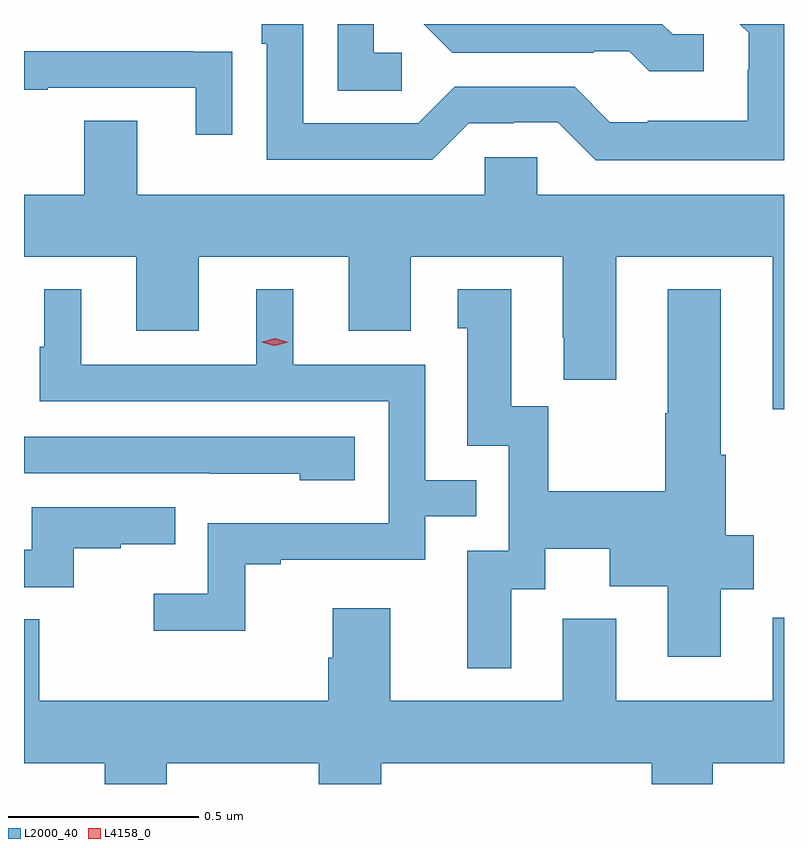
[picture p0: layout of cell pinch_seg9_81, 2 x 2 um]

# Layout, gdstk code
import gdstk
lib = gdstk.Library(unit=1e-6, precision=1e-09)
def P(c, l, *ps):  # polygons
    for p in ps: c.add(gdstk.Polygon(p, *l))
L2000_40 = (2000, 40)
L4158_0 = (4158, 0)

pinch_seg9_81 = lib.new_cell('pinch_seg9_81')
P(pinch_seg9_81, L2000_40, [(1117.739,1205.025),(1117.623,1205.025),(1117.646,1205.002),(1117.646,1204.905),(1117.644,1204.905),(1117.644,1204.771),(1117.381,1204.771),(1117.381,1204.767),(1117.281,1204.767),(1117.188,1204.86),(1116.873,1204.86),(1116.777,1204.764),(1116.474,1204.764),(1116.474,1205.025),(1116.365,1205.025),(1116.365,1204.973),(1116.378,1204.973),(1116.378,1204.668),(1116.813,1204.668),(1116.909,1204.764),(1117.028,1204.764),(1117.028,1204.767),(1117.143,1204.767),(1117.243,1204.667),(1117.739,1204.667)],
  [(1116.733,1204.95),(1116.66,1204.95),(1116.66,1205.025),(1116.564,1205.025),(1116.564,1204.849),(1116.733,1204.849)],
  [(1117.528,1204.998),(1117.446,1204.998),(1117.419,1205.025),(1116.791,1205.025),(1116.866,1204.95),(1117.238,1204.95),(1117.238,1204.953),(1117.332,1204.953),(1117.384,1204.901),(1117.528,1204.901)],
  [(1116.287,1204.952),(1116.185,1204.952),(1116.185,1204.953),(1115.739,1204.953),(1115.739,1204.852),(1115.801,1204.852),(1115.801,1204.857),(1116.191,1204.857),(1116.191,1204.734),(1116.287,1204.734)],
  [(1117.739,1204.576),(1117.089,1204.576),(1117.089,1204.674),(1116.951,1204.674),(1116.951,1204.576),(1116.037,1204.576),(1116.037,1204.771),(1115.897,1204.771),(1115.897,1204.576),(1115.739,1204.576),(1115.739,1204.412),(1116.035,1204.412),(1116.035,1204.218),(1116.199,1204.218),(1116.199,1204.412),(1116.593,1204.412),(1116.593,1204.218),(1116.757,1204.218),(1116.757,1204.412),(1117.157,1204.412),(1117.157,1204.201),(1117.16,1204.201),(1117.16,1204.089),(1117.297,1204.089),(1117.297,1204.412),(1117.709,1204.412),(1117.709,1204.011),(1117.739,1204.011)],
  [(1117.021,1203.538),(1117.111,1203.538),(1117.111,1203.644),(1117.28,1203.644),(1117.28,1203.545),(1117.433,1203.545),(1117.433,1203.36),(1117.573,1203.36),(1117.573,1203.538),(1117.66,1203.538),(1117.66,1203.68),(1117.586,1203.68),(1117.586,1203.892),(1117.573,1203.892),(1117.573,1204.327),(1117.433,1204.327),(1117.433,1204.001),(1117.426,1204.001),(1117.426,1203.796),(1117.119,1203.796),(1117.119,1204.019),(1117.021,1204.019),(1117.021,1204.327),(1116.881,1204.327),(1116.881,1204.224),(1116.905,1204.224),(1116.905,1203.915),(1117.014,1203.915),(1117.014,1203.639),(1116.905,1203.639),(1116.905,1203.33),(1117.021,1203.33)],
  [(1116.321,1203.603),(1116.415,1203.603),(1116.415,1203.615),(1116.795,1203.615),(1116.795,1203.729),(1116.929,1203.729),(1116.929,1203.825),(1116.795,1203.825),(1116.795,1204.128),(1116.448,1204.128),(1116.448,1204.327),(1116.35,1204.327),(1116.35,1204.128),(1115.89,1204.128),(1115.89,1204.327),(1115.792,1204.327),(1115.792,1204.176),(1115.781,1204.176),(1115.781,1204.032),(1116.699,1204.032),(1116.699,1203.711),(1116.222,1203.711),(1116.222,1203.526),(1116.081,1203.526),(1116.081,1203.428),(1116.321,1203.428)],
  [(1116.61,1203.939),(1115.739,1203.939),(1115.739,1203.843),(1116.229,1203.843),(1116.229,1203.842),(1116.465,1203.842),(1116.465,1203.824),(1116.61,1203.824)],
  [(1115.87,1203.645),(1115.993,1203.645),(1115.993,1203.656),(1116.137,1203.656),(1116.137,1203.753),(1115.76,1203.753),(1115.76,1203.641),(1115.739,1203.641),(1115.739,1203.543),(1115.87,1203.543)],
  [(1116.115,1203.08),(1116.515,1203.08),(1116.515,1203.025),(1116.679,1203.025),(1116.679,1203.08),(1117.391,1203.08),(1117.391,1203.025),(1117.551,1203.025),(1117.551,1203.08),(1117.739,1203.08),(1117.739,1203.463),(1117.709,1203.463),(1117.709,1203.244),(1117.297,1203.244),(1117.297,1203.46),(1117.157,1203.46),(1117.157,1203.244),(1116.703,1203.244),(1116.703,1203.487),(1116.551,1203.487),(1116.551,1203.357),(1116.539,1203.357),(1116.539,1203.244),(1115.779,1203.244),(1115.779,1203.458),(1115.739,1203.458),(1115.739,1203.08),(1115.951,1203.08),(1115.951,1203.025),(1116.115,1203.025)])
P(pinch_seg9_81, L4158_0, [(1116.399,1204.178),(1116.363,1204.188),(1116.363,1204.188),(1116.363,1204.188),(1116.399,1204.198),(1116.435,1204.188),(1116.435,1204.188),(1116.435,1204.188)])

lib.write_gds('pinch_seg9_81.gds')
